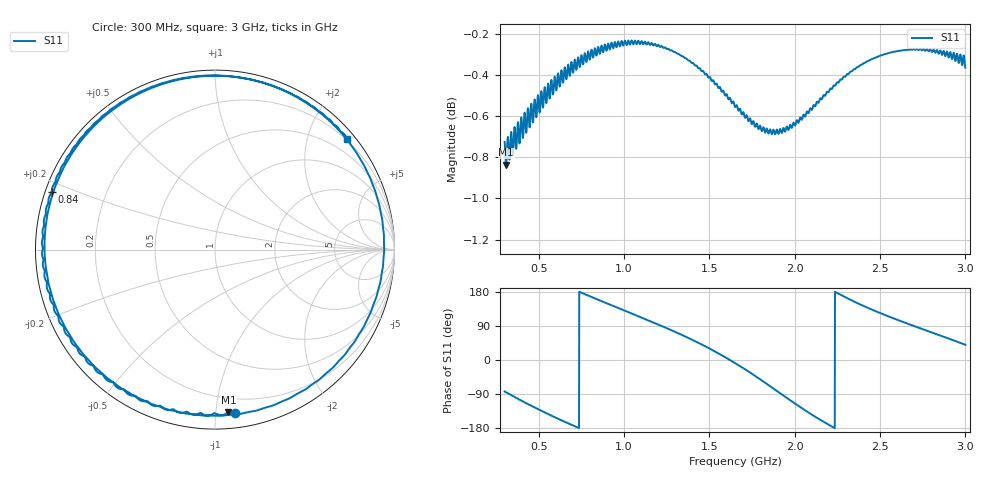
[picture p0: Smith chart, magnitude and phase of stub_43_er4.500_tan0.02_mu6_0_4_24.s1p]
! Chirptenna · simulación 3D de un stub abierto
# HZ S RI R 50
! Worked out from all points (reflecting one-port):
!   2001 points, 300 MHz to 3 GHz, reference 50 ohm
!   lowest |S11| = -0.8 dB at 309.4 MHz (marker M1), VSWR 20.80, Z = 5.23 - j54.1 ohm
!   phase of S11 starts at -83 deg and turns -597 deg over the sweep
!   S11 on the Smith chart (normalised r, x): 300 MHz: 0.09, -1.13; 840 MHz: 0.02, +0.17; 3 GHz: 0.18, +2.73
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3e8  0.1124 -0.913
3.0945e8  0.0752 -0.9051
3.6885e8  -0.159 -0.9027
4.458e8  -0.4419 -0.8153
5.4705e8  -0.7297 -0.5953
6.375e8  -0.898 -0.3231
7.401e8  -0.9592 0.00736
8.4e8  -0.9109 0.3208
9.75e8  -0.6925 0.6799
1.15185e9  -0.2158 0.947
1.23285e9  0.0443 0.9686
1.3125e9  0.3059 0.9168
1.41105e9  0.6077 0.7439
1.5096e9  0.8397 0.4497
1.5852e9  0.9333 0.1536
1.65e9  0.9292 -0.1289
1.7445e9  0.7613 -0.5343
1.84305e9  0.3867 -0.84
1.91865e9  0.014 -0.9257
1.9875e9  -0.3259 -0.8693
2.07795e9  -0.693 -0.6275
2.15625e9  -0.8837 -0.3266
2.23725e9  -0.9493 0.00748
2.325e9  -0.8942 0.3402
2.4924e9  -0.5587 0.7869
2.6625e9  -0.0949 0.9639
2.8245e9  0.343 0.9041
3e9  0.7342 0.6168
